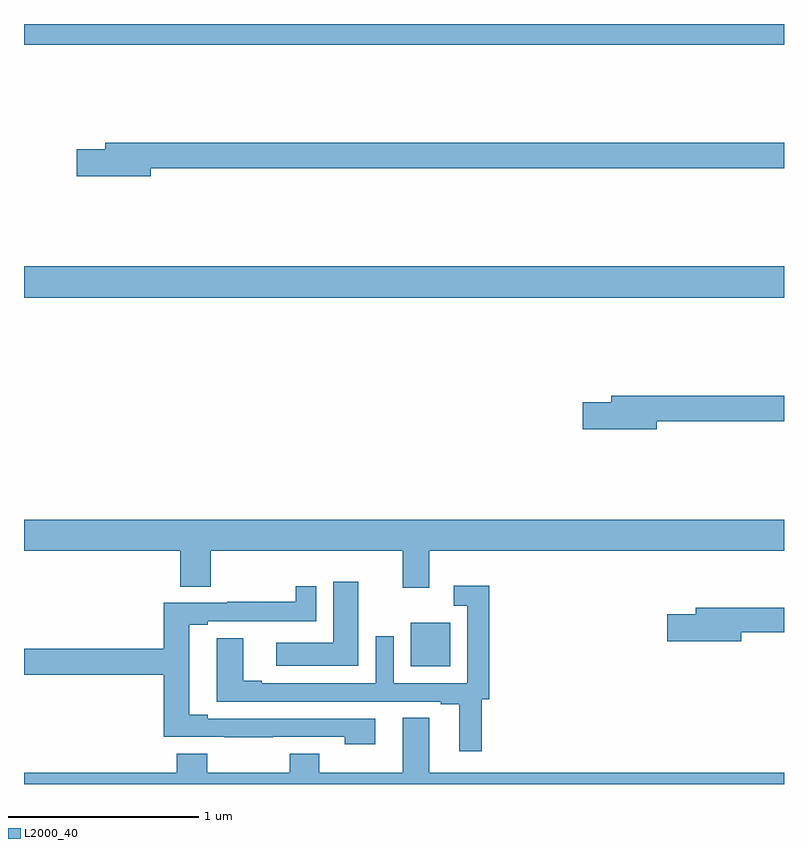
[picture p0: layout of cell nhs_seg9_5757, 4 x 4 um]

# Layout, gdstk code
import gdstk
lib = gdstk.Library(unit=1e-6, precision=1e-09)
def R(c, l, rs):  # rectangles x0, y0, x1, y1
    for r in rs: c.add(gdstk.rectangle(r[:2], r[2:], *l))
def P(c, l, *ps):  # polygons
    for p in ps: c.add(gdstk.Polygon(p, *l))
L2000_40 = (2000, 40)

nhs_seg9_5757 = lib.new_cell('nhs_seg9_5757')
R(nhs_seg9_5757, L2000_40, [(447.035,1221.119,447.244,1221.349), (445,1223.06,449,1223.224), (445,1224.392,449,1224.5)])
P(nhs_seg9_5757, L2000_40, [(445.666,1223.74),(449,1223.74),(449,1223.876),(445.427,1223.876),(445.427,1223.84),(445.278,1223.84),(445.278,1223.698),(445.666,1223.698)],
  [(448.33,1222.408),(449,1222.408),(449,1222.544),(448.091,1222.544),(448.091,1222.508),(447.942,1222.508),(447.942,1222.366),(448.33,1222.366)],
  [(447.133,1221.728),(449,1221.728),(449,1221.892),(445,1221.892),(445,1221.728),(445.823,1221.728),(445.823,1221.538),(445.983,1221.538),(445.983,1221.728),(446.993,1221.728),(446.993,1221.534),(447.133,1221.534)],
  [(446.758,1221.565),(446.627,1221.565),(446.627,1221.244),(446.328,1221.244),(446.328,1221.122),(446.758,1221.122)],
  [(447.409,1220.946),(447.449,1220.946),(447.449,1221.544),(447.261,1221.544),(447.261,1221.438),(447.333,1221.438),(447.333,1221.03),(446.946,1221.03),(446.946,1221.277),(446.85,1221.277),(446.85,1221.03),(446.251,1221.03),(446.251,1221.043),(446.155,1221.043),(446.155,1221.268),(446.015,1221.268),(446.015,1220.934),(447.194,1220.934),(447.194,1220.919),(447.29,1220.919),(447.29,1220.673),(447.409,1220.673)],
  [(446.848,1220.844),(445.966,1220.844),(445.966,1220.864),(445.87,1220.864),(445.87,1221.337),(445.966,1221.337),(445.966,1221.357),(446.538,1221.357),(446.538,1221.541),(446.43,1221.541),(446.43,1221.458),(446.071,1221.458),(446.071,1221.453),(445.736,1221.453),(445.736,1221.212),(445,1221.212),(445,1221.076),(445.736,1221.076),(445.736,1220.748),(446.053,1220.748),(446.053,1220.747),(446.309,1220.747),(446.309,1220.748),(446.687,1220.748),(446.687,1220.708),(446.848,1220.708)],
  [(448.774,1221.298),(449,1221.298),(449,1221.427),(448.535,1221.427),(448.535,1221.393),(448.386,1221.393),(448.386,1221.251),(448.774,1221.251)],
  [(449,1220.56),(447.133,1220.56),(447.133,1220.849),(446.993,1220.849),(446.993,1220.56),(446.553,1220.56),(446.553,1220.659),(446.398,1220.659),(446.398,1220.56),(445.965,1220.56),(445.965,1220.659),(445.805,1220.659),(445.805,1220.56),(445,1220.56),(445,1220.5),(449,1220.5)])

lib.write_gds('nhs_seg9_5757.gds')
